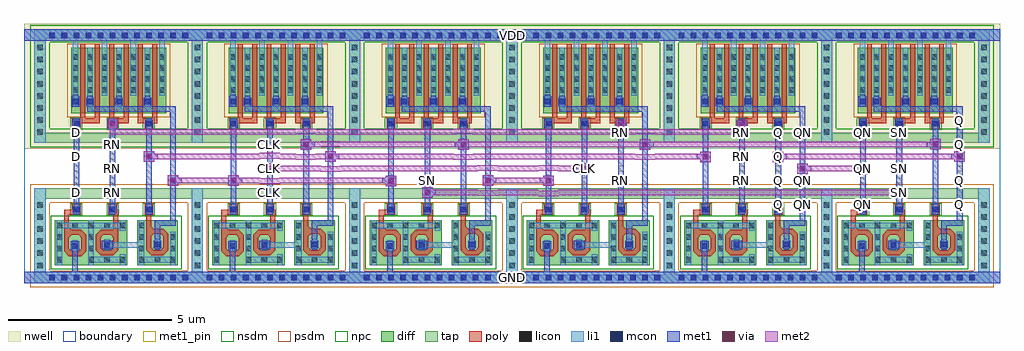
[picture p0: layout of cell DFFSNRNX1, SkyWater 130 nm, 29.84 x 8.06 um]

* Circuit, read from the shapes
.subckt DFFSNRNX1 CLK D GND Q QN RN SN VDD
XM1 n1 D GND GND sky130_fd_pr__nfet_01v8 w=2.6 l=0.147
XM2 n1 RN n2 GND sky130_fd_pr__nfet_01v8 w=2.52 l=0.1481
XM3 n2 n3 n4 GND sky130_fd_pr__nfet_01v8 w=2.56 l=0.1466
XM4 n5 n4 GND GND sky130_fd_pr__nfet_01v8 w=2.6 l=0.148
XM5 n5 CLK n6 GND sky130_fd_pr__nfet_01v8 w=2.52 l=0.1476
XM6 n6 n7 n3 GND sky130_fd_pr__nfet_01v8 w=2.56 l=0.1466
XM7 n8 n4 GND GND sky130_fd_pr__nfet_01v8 w=2.6 l=0.1474
XM8 n8 SN n9 GND sky130_fd_pr__nfet_01v8 w=2.52 l=0.1481
XM9 n9 n7 n10 GND sky130_fd_pr__nfet_01v8 w=2.56 l=0.1466
XM10 n11 n10 GND GND sky130_fd_pr__nfet_01v8 w=2.6 l=0.1474
XM11 n11 CLK n12 GND sky130_fd_pr__nfet_01v8 w=2.52 l=0.148
XM12 n12 RN n7 GND sky130_fd_pr__nfet_01v8 w=2.56 l=0.1466
XM13 n13 n3 GND GND sky130_fd_pr__nfet_01v8 w=2.6 l=0.1474
XM14 n13 RN n14 GND sky130_fd_pr__nfet_01v8 w=2.52 l=0.1481
XM15 n14 Q QN GND sky130_fd_pr__nfet_01v8 w=2.56 l=0.1467
XM16 n15 QN GND GND sky130_fd_pr__nfet_01v8 w=2.6 l=0.1474
XM17 n15 SN n16 GND sky130_fd_pr__nfet_01v8 w=2.52 l=0.148
XM18 n16 n7 Q GND sky130_fd_pr__nfet_01v8 w=2.56 l=0.1464
XM19 n4 D VDD VDD sky130_fd_pr__pfet_01v8 w=2 l=0.15 m=2
XM20 n4 RN VDD VDD sky130_fd_pr__pfet_01v8 w=2 l=0.15 m=2
XM21 n4 n3 VDD VDD sky130_fd_pr__pfet_01v8 w=2 l=0.15 m=2
XM22 n3 n4 VDD VDD sky130_fd_pr__pfet_01v8 w=2 l=0.15 m=2
XM23 n3 CLK VDD VDD sky130_fd_pr__pfet_01v8 w=2 l=0.15 m=2
XM24 n3 n7 VDD VDD sky130_fd_pr__pfet_01v8 w=2 l=0.15 m=2
XM25 n10 n4 VDD VDD sky130_fd_pr__pfet_01v8 w=2 l=0.15 m=2
XM26 n10 SN VDD VDD sky130_fd_pr__pfet_01v8 w=2 l=0.15 m=2
XM27 n10 n7 VDD VDD sky130_fd_pr__pfet_01v8 w=2 l=0.15 m=2
XM28 n7 n10 VDD VDD sky130_fd_pr__pfet_01v8 w=2 l=0.15 m=2
XM29 n7 CLK VDD VDD sky130_fd_pr__pfet_01v8 w=2 l=0.15 m=2
XM30 n7 RN VDD VDD sky130_fd_pr__pfet_01v8 w=2 l=0.15 m=2
XM31 QN n3 VDD VDD sky130_fd_pr__pfet_01v8 w=2 l=0.15 m=2
XM32 QN RN VDD VDD sky130_fd_pr__pfet_01v8 w=2 l=0.15 m=2
XM33 QN Q VDD VDD sky130_fd_pr__pfet_01v8 w=2 l=0.15 m=2
XM34 Q QN VDD VDD sky130_fd_pr__pfet_01v8 w=2 l=0.15 m=2
XM35 Q SN VDD VDD sky130_fd_pr__pfet_01v8 w=2 l=0.15 m=2
XM36 Q n7 VDD VDD sky130_fd_pr__pfet_01v8 w=2 l=0.15 m=2
.ends

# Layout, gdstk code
from math import pi, radians
import gdstk
lib = gdstk.Library(unit=1e-6, precision=1e-09)
def R(c, l, rs):  # rectangles x0, y0, x1, y1
    for r in rs: c.add(gdstk.rectangle(r[:2], r[2:], *l))
def A(c, l, x, y, w, h, nx, ny, dx, dy):  # array of equal rectangles
    R(c, l, [(x+i*dx, y+j*dy, x+i*dx+w, y+j*dy+h) for i in range(nx) for j in range(ny)])
def P(c, l, *ps):  # polygons
    for p in ps: c.add(gdstk.Polygon(p, *l))
nwell = (64, 20)
diff = (65, 20)
tap = (65, 44)
poly = (66, 20)
licon = (66, 44)
li1 = (67, 20)
mcon = (67, 44)
met1_pin = (68, 16)
met1 = (68, 20)
via = (68, 44)
met2 = (69, 20)
nsdm = (93, 44)
psdm = (94, 20)
npc = (95, 20)
boundary = (235, 4)

li1_m1_contact = lib.new_cell('li1_M1_contact')
R(li1_m1_contact, li1, [(-0.085,-0.165,0.085,0.165)])
R(li1_m1_contact, mcon, [(-0.085,-0.085,0.085,0.085)])
R(li1_m1_contact, met1, [(-0.115,-0.115,0.115,-0.085), (-0.265,-0.085,0.145,0.085), (-0.115,0.085,0.115,0.115)])

diff_ring_side = lib.new_cell('diff_ring_side')
R(diff_ring_side, nwell, [(-0.435,3.93,0.435,7.75)])
R(diff_ring_side, tap, [(-0.17,-0.17,0.17,2.72), (-0.17,4.11,0.17,7.57)])
A(diff_ring_side, licon, -0.085, 0.285, 0.17, 0.17, 1, 6, 0, 0.37)
A(diff_ring_side, licon, -0.085, 4.355, 0.17, 0.17, 1, 8, 0, 0.37)
R(diff_ring_side, li1, [(-0.17,-0.17,0.17,2.72), (-0.17,4.11,0.17,7.57)])
R(diff_ring_side, met1, [(-0.17,-0.17,0.17,0.17), (-0.17,7.23,0.17,7.57)])
R(diff_ring_side, nsdm, [(-0.295,3.985,0.295,7.695)])
R(diff_ring_side, psdm, [(-0.295,-0.295,0.295,2.845)])

nmos_bottom = lib.new_cell('nmos_bottom')
R(nmos_bottom, diff, [(0,0,1.24,1.38)])
R(nmos_bottom, poly, [(0.43,0.27,0.81,0.42), (0.28,0.42,0.43,0.925), (0.81,0.42,0.96,0.925), (0.43,0.925,0.96,1.075), (0.81,1.075,0.96,1.51)])
P(nmos_bottom, poly, [(0.73,1.075),(0.81,1.075),(0.81,1.155)],
  [(0.28,0.925),(0.43,0.925),(0.43,1.075)],
  [(0.43,0.845),(0.43,0.925),(0.51,0.925)],
  [(0.73,0.925),(0.81,0.925),(0.81,0.845)],
  [(0.43,0.5),(0.43,0.42),(0.51,0.42)],
  [(0.73,0.42),(0.81,0.42),(0.81,0.5)],
  [(0.28,0.42),(0.43,0.42),(0.43,0.27)],
  [(0.81,0.27),(0.81,0.42),(0.96,0.42)])
A(nmos_bottom, licon, 0.05, 1.13, 0.17, 0.17, 3, 1, 0.485, 0)
R(nmos_bottom, licon, [(0.05,0.08,0.22,0.25), (1.02,0.08,1.19,0.25), (0.05,0.43,0.22,0.6), (1.02,0.43,1.19,0.6), (0.535,0.505,0.705,0.675), (0.05,0.77,0.22,0.94), (1.02,0.77,1.19,0.94)])
R(nmos_bottom, li1, [(0.05,0,0.22,1.13), (1.02,0,1.19,1.13), (0.535,0.425,0.705,0.755), (0.05,1.13,1.19,1.3), (0.05,1.3,0.22,1.38), (1.02,1.3,1.19,1.38)])
R(nmos_bottom, nsdm, [(-0.125,-0.125,1.365,1.505)])

pmos2 = lib.new_cell('pmos2')
R(pmos2, nwell, [(0.26,-2.18,1.76,0.18)])
R(pmos2, diff, [(0.44,-2,1.58,0)])
R(pmos2, poly, [(0.72,-2.305,1.31,-2.155), (0.72,-2.155,0.87,0.13), (1.16,-2.155,1.31,0.13)])
A(pmos2, licon, 0.49, -1.38, 0.17, 0.17, 3, 4, 0.44, 0.34)
R(pmos2, li1, [(0.49,-1.465,0.66,0.21), (0.93,-1.465,1.1,0), (1.37,-1.465,1.54,0.21)])
R(pmos2, psdm, [(0.315,-2.125,1.705,0.125)])

poly_li1_contact = lib.new_cell('poly_li1_contact')
R(poly_li1_contact, poly, [(-0.16,-0.14,0.17,0.13)])
R(poly_li1_contact, licon, [(-0.08,-0.09,0.09,0.08)])
R(poly_li1_contact, li1, [(-0.16,-0.09,0.17,0.08)])
R(poly_li1_contact, npc, [(-0.18,-0.19,0.19,0.18)])

nmos_side_left = lib.new_cell('nmos_side_left')
R(nmos_side_left, diff, [(0,0,1.24,1.38)])
R(nmos_side_left, poly, [(0.435,0.305,0.81,0.455), (0.285,0.455,0.435,0.925), (0.81,0.455,0.96,0.925), (0.435,0.925,0.96,1.075), (0.81,1.075,0.96,1.51)])
P(nmos_side_left, poly, [(0.285,0.925),(0.435,0.925),(0.435,1.075)],
  [(0.435,0.845),(0.435,0.925),(0.515,0.925)],
  [(0.73,0.925),(0.81,0.925),(0.81,0.845)],
  [(0.435,0.535),(0.435,0.455),(0.515,0.455)],
  [(0.73,0.455),(0.81,0.455),(0.81,0.535)],
  [(0.285,0.455),(0.435,0.455),(0.435,0.305)],
  [(0.81,0.305),(0.81,0.455),(0.96,0.455)])
A(nmos_side_left, licon, 0.05, 0.08, 0.17, 0.17, 3, 2, 0.485, 1.05)
R(nmos_side_left, licon, [(0.05,0.43,0.22,0.6), (0.54,0.535,0.71,0.705), (0.05,0.77,0.22,0.94)])
R(nmos_side_left, li1, [(0.05,0,0.22,0.08), (1.02,0,1.19,0.08), (0.05,0.08,1.19,0.25), (0.05,0.25,0.22,1.13), (1.02,0.25,1.19,0.33), (0.54,0.455,0.71,0.785), (1.02,1.05,1.19,1.13), (0.05,1.13,1.19,1.3), (0.05,1.3,0.22,1.38), (1.02,1.3,1.19,1.38)])
R(nmos_side_left, nsdm, [(-0.125,-0.125,1.365,1.505)])

nmos_top_trim1 = lib.new_cell('nmos_top_trim1')
R(nmos_top_trim1, diff, [(0,0,1.24,1.38)])
R(nmos_top_trim1, poly, [(0.43,0.31,0.81,0.46), (0.28,0.46,0.43,0.965), (0.81,0.46,0.96,0.965), (0.43,0.965,0.96,1.115), (0.81,1.115,0.96,1.545)])
P(nmos_top_trim1, poly, [(0.73,1.115),(0.81,1.115),(0.81,1.195)],
  [(0.28,0.965),(0.43,0.965),(0.43,1.115)],
  [(0.43,0.885),(0.43,0.965),(0.51,0.965)],
  [(0.73,0.965),(0.81,0.965),(0.81,0.885)],
  [(0.43,0.54),(0.43,0.46),(0.51,0.46)],
  [(0.73,0.46),(0.81,0.46),(0.81,0.54)],
  [(0.28,0.46),(0.43,0.46),(0.43,0.31)],
  [(0.81,0.31),(0.81,0.46),(0.96,0.46)])
A(nmos_top_trim1, licon, 0.05, 0.08, 0.17, 0.17, 3, 1, 0.485, 0)
R(nmos_top_trim1, licon, [(0.05,0.43,0.22,0.6), (1.02,0.43,1.19,0.6), (0.535,0.55,0.705,0.72), (0.05,0.77,0.22,0.94), (1.02,0.77,1.19,0.94), (1.02,1.13,1.19,1.3)])
R(nmos_top_trim1, li1, [(0.05,0,0.22,0.08), (1.02,0,1.19,0.08), (0.05,0.08,1.19,0.25), (0.05,0.25,0.22,1.02), (1.02,0.25,1.19,1.38), (0.535,0.47,0.705,0.805)])
R(nmos_top_trim1, nsdm, [(-0.125,-0.125,1.365,1.505)])

nand3x1_pcell = lib.new_cell('nand3x1_pcell')
R(nand3x1_pcell, nwell, [(0.435,3.93,4.375,5.28), (0.435,5.28,1.1,5.295), (1.395,5.28,4.375,5.495), (0.435,5.295,1.025,5.465), (1.145,5.295,1.315,5.465), (0.435,5.465,1.1,5.495), (0.435,5.495,4.375,7.75)])
A(nand3x1_pcell, diff, 1.445, 5.295, 0.17, 0.17, 3, 1, 0.88, 0)
R(nand3x1_pcell, diff, [(1.005,5.295,1.175,5.465)])
R(nand3x1_pcell, tap, [(0.17,-0.17,4.64,0.085), (0.17,2.41,4.64,2.72), (0.17,4.11,4.64,4.42), (0.17,7.315,4.64,7.57)])
R(nand3x1_pcell, poly, [(0.735,1.885,0.885,1.915), (2.235,1.885,2.385,1.915), (0.735,1.915,0.975,2.065), (2.355,1.915,2.385,2.065)])
A(nand3x1_pcell, licon, 0.285, -0.085, 0.17, 0.17, 12, 2, 0.37, 7.4)
A(nand3x1_pcell, licon, 1.445, 5.295, 0.17, 0.17, 3, 1, 0.88, 0)
R(nand3x1_pcell, licon, [(1.005,5.295,1.175,5.465)])
A(nand3x1_pcell, li1, 1.025, 1.995, 0.17, 0.17, 3, 2, 1.11, 2.62)
R(nand3x1_pcell, li1, [(0.17,-0.17,4.65,0.17), (0.99,0.88,1.16,1.05), (1.965,0.91,3.015,1.08), (3.5,0.925,3.67,1.095), (1.005,5.215,1.175,5.6), (1.445,5.215,1.615,5.56), (2.325,5.215,2.495,5.585), (3.205,5.215,3.375,5.56), (0.07,7.23,4.715,7.57)])
A(nand3x1_pcell, mcon, 0.285, -0.085, 0.17, 0.17, 12, 2, 0.37, 7.4)
A(nand3x1_pcell, mcon, 1.025, 1.995, 0.17, 0.17, 3, 2, 1.11, 2.62)
A(nand3x1_pcell, mcon, 1.445, 5.295, 0.17, 0.17, 3, 1, 0.88, 0)
R(nand3x1_pcell, mcon, [(0.99,0.88,1.16,1.05), (1.965,0.91,2.135,1.08), (3.5,0.925,3.67,1.095), (1.005,5.295,1.175,5.465)])
A(nand3x1_pcell, met1, 1.025, 1.915, 0.17, 0.04, 3, 1, 1.11, 0)
A(nand3x1_pcell, met1, 1.445, 5.495, 0.17, 0.06, 3, 1, 0.88, 0)
R(nand3x1_pcell, met1, [(0.17,-0.17,4.64,0.17), (0.99,0.17,1.16,0.835), (0.945,0.835,1.205,1.11), (1.89,0.865,2.225,1.115), (3.5,0.865,3.67,0.895), (3.47,0.895,3.7,1.125), (3.5,1.125,3.67,1.58), (3.5,1.58,4.155,1.75), (3.985,1.75,4.155,5.07), (0.995,1.955,1.225,2.195), (2.105,1.955,2.34,2.195), (3.215,1.955,3.445,2.195), (1.025,2.195,1.195,4.575), (2.135,2.195,2.305,4.585), (3.245,2.195,3.415,4.57), (3.215,4.57,3.445,4.815), (0.99,4.575,1.23,4.835), (2.105,4.585,2.335,4.815), (2.135,4.815,2.305,4.845), (3.245,4.815,3.415,4.845), (1.025,4.835,1.195,4.845), (1.445,5.07,4.155,5.24), (0.965,5.215,1.205,5.535), (1.415,5.24,1.65,5.495), (2.29,5.24,2.53,5.495), (3.175,5.24,3.405,5.495), (1.005,5.535,1.175,5.58), (0.17,7.23,4.64,7.57)])
R(nand3x1_pcell, nsdm, [(2.79,0.25,2.84,1.88), (0.045,3.985,4.765,4.545), (0.045,7.19,4.765,7.695)])
R(nand3x1_pcell, psdm, [(0.045,-0.295,4.765,0.21), (0.045,2.285,4.765,2.845), (0.88,5.17,1.74,5.59), (2.2,5.17,2.62,5.59), (3.08,5.17,3.5,5.59)])
nand3x1_pcell.add(gdstk.Reference(diff_ring_side, (0,0)))
nand3x1_pcell.add(gdstk.Reference(nmos_bottom, (1.695,0.375), rotation=pi, x_reflection=True))
nand3x1_pcell.add(gdstk.Reference(pmos2, (0.515,7.02)))
nand3x1_pcell.add(gdstk.Reference(poly_li1_contact, (1.115,4.705), rotation=3*pi/2))
nand3x1_pcell.add(gdstk.Reference(poly_li1_contact, (1.105,2.075), rotation=pi/2))
nand3x1_pcell.add(gdstk.Reference(nmos_side_left, (1.425,0.375)))
nand3x1_pcell.add(gdstk.Reference(pmos2, (1.395,7.02)))
nand3x1_pcell.add(gdstk.Reference(pmos2, (2.275,7.02)))
nand3x1_pcell.add(gdstk.Reference(poly_li1_contact, (2.215,2.075), rotation=pi/2))
nand3x1_pcell.add(gdstk.Reference(poly_li1_contact, (2.215,4.695), rotation=pi/2))
nand3x1_pcell.add(gdstk.Reference(nmos_top_trim1, (4.205,0.375), rotation=pi, x_reflection=True))
nand3x1_pcell.add(gdstk.Reference(poly_li1_contact, (3.325,2.075), rotation=pi/2))
nand3x1_pcell.add(gdstk.Reference(poly_li1_contact, (3.335,4.705), rotation=3*pi/2))
nand3x1_pcell.add(gdstk.Reference(diff_ring_side, (4.81,0)))

dffsnrnx1 = lib.new_cell('DFFSNRNX1')
R(dffsnrnx1, nwell, [(0,4.11,29.84,4.405), (0,4.405,2.565,4.485), (2.605,4.405,29.84,4.425), (2.605,4.425,18.085,4.465), (18.135,4.425,29.84,4.44), (18.135,4.44,21.78,4.465), (21.8,4.44,29.84,4.465), (2.605,4.465,29.84,4.485), (0,4.485,29.84,7.94)])
R(dffsnrnx1, tap, [(0.32,0,29.52,0.01), (0.32,7.75,29.52,7.76)])
R(dffsnrnx1, li1, [(0,0,29.84,0.35), (0,7.41,29.84,7.76)])
A(dffsnrnx1, met1_pin, 28.525, 2.315, 0.17, 0.17, 1, 8, 0, 0.37)
A(dffsnrnx1, met1_pin, 1.515, 2.685, 0.17, 0.17, 1, 6, 0, 0.37)
A(dffsnrnx1, met1_pin, 2.625, 2.685, 0.17, 0.17, 3, 1, 4.81, 0)
A(dffsnrnx1, met1_pin, 26.675, 2.685, 0.17, 0.17, 1, 3, 0, 0.37)
A(dffsnrnx1, met1_pin, 2.625, 3.055, 0.17, 0.17, 1, 5, 0, 0.37)
A(dffsnrnx1, met1_pin, 21.865, 3.055, 0.17, 0.17, 1, 3, 0, 0.37)
A(dffsnrnx1, met1_pin, 22.975, 3.055, 0.17, 0.17, 1, 3, 0, 0.37)
R(dffsnrnx1, met1_pin, [(0,0,29.84,0.35), (22.975,2.315,23.145,2.485), (23.715,2.315,23.885,2.485), (25.565,2.315,25.735,2.485), (12.245,3.055,12.415,3.225), (17.055,3.055,17.225,3.225), (18.165,3.055,18.335,3.225), (23.715,3.055,23.885,3.225), (25.565,3.055,25.735,3.225), (7.435,3.425,7.605,3.595), (17.055,3.425,17.225,3.595), (18.165,3.425,18.335,3.595), (23.715,3.425,23.885,3.595), (25.565,3.425,25.735,3.595), (7.435,4.165,7.605,4.335), (18.165,4.535,18.335,4.705), (21.865,4.535,22.035,4.705), (22.975,4.535,23.145,4.705), (23.715,4.535,23.885,4.705), (25.565,4.535,25.735,4.705), (26.675,4.535,26.845,4.705), (0,7.41,29.84,7.76)])
A(dffsnrnx1, met1, 28.525, 2.315, 0.17, 0.17, 1, 4, 0, 0.37)
A(dffsnrnx1, met1, 1.515, 2.685, 0.17, 0.17, 1, 6, 0, 0.37)
A(dffsnrnx1, met1, 2.625, 2.685, 0.17, 0.17, 1, 6, 0, 0.37)
A(dffsnrnx1, met1, 21.865, 3.055, 0.17, 0.17, 1, 3, 0, 0.37)
A(dffsnrnx1, met1, 28.525, 4.165, 0.17, 0.17, 1, 3, 0, 0.37)
R(dffsnrnx1, met1, [(0,0,29.84,0.35), (22.975,2.315,23.145,2.485), (23.715,2.315,23.885,2.485), (25.565,2.315,25.735,2.485), (26.595,2.61,26.915,2.93), (12.17,2.615,12.49,2.935), (7.435,2.685,7.605,2.855), (11.06,2.965,11.38,3.285), (15.87,2.975,16.19,3.295), (14.02,2.98,14.34,3.3), (6.25,2.985,6.57,3.305), (4.4,2.99,4.72,3.31), (12.245,3.055,12.415,3.225), (17.055,3.055,17.225,3.225), (18.165,3.055,18.335,3.225), (22.975,3.055,23.145,3.225), (23.715,3.055,23.885,3.225), (25.565,3.055,25.735,3.225), (26.675,3.055,26.845,3.225), (16.975,3.335,17.295,3.655), (23.64,3.335,23.96,3.655), (25.485,3.335,25.805,3.655), (7.355,3.355,7.675,3.675), (18.165,3.425,18.335,3.595), (22.975,3.425,23.145,3.595), (26.675,3.425,26.845,3.595), (20.675,3.705,20.995,4.025), (22.89,3.705,23.21,4.025), (28.445,3.715,28.765,4.035), (3.66,3.72,3.98,4.04), (9.21,3.72,9.53,4.04), (8.465,4.09,8.785,4.41), (13.275,4.09,13.595,4.41), (18.83,4.09,19.15,4.41), (27.71,4.105,28.03,4.425), (7.435,4.165,7.605,4.335), (18.165,4.535,18.335,4.675), (21.865,4.535,22.035,4.68), (22.975,4.535,23.145,4.705), (23.715,4.535,23.885,4.705), (25.565,4.535,25.735,4.705), (26.675,4.535,26.845,4.705), (18.09,4.675,18.41,4.995), (21.785,4.68,22.105,5), (2.55,4.715,2.87,5.035), (0,7.41,29.84,7.76)])
R(dffsnrnx1, via, [(26.68,2.695,26.83,2.845), (12.255,2.7,12.405,2.85), (11.145,3.05,11.295,3.2), (15.955,3.06,16.105,3.21), (14.105,3.065,14.255,3.215), (6.335,3.07,6.485,3.22), (4.485,3.075,4.635,3.225), (17.06,3.42,17.21,3.57), (23.725,3.42,23.875,3.57), (25.57,3.42,25.72,3.57), (7.44,3.44,7.59,3.59), (20.76,3.79,20.91,3.94), (22.975,3.79,23.125,3.94), (28.53,3.8,28.68,3.95), (3.745,3.805,3.895,3.955), (9.295,3.805,9.445,3.955), (8.55,4.175,8.7,4.325), (13.36,4.175,13.51,4.325), (18.915,4.175,19.065,4.325), (27.795,4.19,27.945,4.34), (18.175,4.76,18.325,4.91), (21.87,4.765,22.02,4.915), (2.635,4.8,2.785,4.95)])
R(dffsnrnx1, met2, [(26.595,2.61,26.915,2.685), (12.17,2.615,12.49,2.685), (15.73,2.665,16.33,2.685), (13.88,2.67,14.48,2.685), (12.17,2.685,26.915,2.835), (12.17,2.835,15.73,2.84), (16.33,2.835,26.915,2.855), (12.17,2.84,13.88,2.855), (14.48,2.84,15.73,2.855), (12.17,2.855,12.49,2.935), (26.595,2.855,26.915,2.93), (11.06,2.965,11.38,3.06), (15.87,2.975,16.19,3.055), (14.02,2.98,14.34,3.055), (6.25,2.985,6.57,3.06), (4.4,2.99,4.72,3.06), (7.215,3.045,7.815,3.06), (14.02,3.055,16.19,3.225), (4.4,3.06,11.38,3.215), (4.4,3.215,7.215,3.23), (7.815,3.215,11.38,3.23), (14.02,3.225,14.34,3.3), (15.87,3.225,16.19,3.295), (4.4,3.23,4.72,3.31), (6.25,3.23,6.57,3.305), (11.06,3.23,11.38,3.285), (16.975,3.335,17.295,3.425), (23.64,3.335,23.96,3.425), (25.485,3.335,25.805,3.425), (7.355,3.355,7.675,3.425), (9.07,3.41,9.67,3.425), (7.355,3.425,13.88,3.44), (14.48,3.425,15.73,3.44), (16.33,3.425,17.295,3.44), (23.64,3.425,25.805,3.595), (7.355,3.44,17.295,3.58), (7.355,3.58,9.07,3.595), (9.67,3.58,17.295,3.595), (7.355,3.595,7.675,3.675), (13.88,3.595,14.48,3.61), (15.73,3.595,16.33,3.61), (16.975,3.595,17.295,3.655), (23.64,3.595,23.96,3.655), (25.485,3.595,25.805,3.655), (20.675,3.705,20.995,3.795), (22.89,3.705,23.21,3.795), (28.445,3.715,28.765,3.795), (3.66,3.72,3.98,3.795), (9.21,3.72,9.53,3.795), (8.325,3.78,8.925,3.795), (13.135,3.78,13.735,3.795), (18.69,3.78,19.29,3.795), (3.66,3.795,7.215,3.815), (7.815,3.795,20.995,3.815), (22.89,3.795,28.765,3.965), (3.66,3.815,20.995,3.95), (3.66,3.95,8.325,3.965), (8.925,3.95,13.135,3.965), (13.735,3.95,18.69,3.965), (19.29,3.95,20.995,3.965), (3.66,3.965,3.98,4.04), (7.215,3.965,7.815,3.985), (9.21,3.965,9.53,4.04), (20.675,3.965,20.995,4.025), (22.89,3.965,23.21,4.025), (28.445,3.965,28.765,4.035), (8.465,4.09,8.785,4.165), (13.275,4.09,13.595,4.165), (18.83,4.09,19.15,4.165), (27.71,4.105,28.03,4.165), (8.465,4.165,9.07,4.18), (9.67,4.165,28.03,4.18), (8.465,4.18,28.03,4.335), (8.465,4.335,8.785,4.41), (9.07,4.335,9.67,4.35), (13.275,4.335,13.595,4.41), (18.83,4.335,19.15,4.41), (27.71,4.335,28.03,4.425), (2.625,4.535,8.325,4.55), (8.925,4.535,13.135,4.55), (13.735,4.535,18.69,4.55), (19.29,4.535,22.04,4.55), (2.625,4.55,22.04,4.68), (2.625,4.68,22.105,4.705), (2.625,4.705,2.87,4.715), (8.325,4.705,8.925,4.72), (13.135,4.705,13.735,4.72), (18.09,4.705,18.41,4.995), (18.69,4.705,19.29,4.715), (21.785,4.705,22.105,5), (2.55,4.715,2.87,5.035)])
R(dffsnrnx1, nsdm, [(0.195,7.625,29.645,7.885)])
R(dffsnrnx1, psdm, [(0.195,-0.125,29.645,0.135)])
R(dffsnrnx1, boundary, [(0,0,29.84,7.76)])
dffsnrnx1.add(gdstk.Reference(li1_m1_contact, (3.82,3.88), rotation=pi))
dffsnrnx1.add(gdstk.Reference(li1_m1_contact, (4.56,3.145), rotation=pi))
dffsnrnx1.add(gdstk.Reference(nand3x1_pcell, (0.49,0.18)))
dffsnrnx1.add(gdstk.Reference(nand3x1_pcell, (5.3,0.18)))
dffsnrnx1.add(gdstk.Reference(li1_m1_contact, (8.625,4.25), rotation=pi))
dffsnrnx1.add(gdstk.Reference(li1_m1_contact, (6.41,3.145), rotation=pi))
dffsnrnx1.add(gdstk.Reference(li1_m1_contact, (7.52,3.51), rotation=pi))
dffsnrnx1.add(gdstk.Reference(li1_m1_contact, (9.37,3.88), rotation=pi))
dffsnrnx1.add(gdstk.Reference(li1_m1_contact, (11.22,3.145)))
dffsnrnx1.add(gdstk.Reference(nand3x1_pcell, (10.11,0.18)))
dffsnrnx1.add(gdstk.Reference(li1_m1_contact, (13.44,4.25)))
dffsnrnx1.add(gdstk.Reference(li1_m1_contact, (12.33,2.77), rotation=pi))
dffsnrnx1.add(gdstk.Reference(li1_m1_contact, (14.18,3.14), rotation=pi))
dffsnrnx1.add(gdstk.Reference(li1_m1_contact, (17.14,3.51)))
dffsnrnx1.add(gdstk.Reference(li1_m1_contact, (16.03,3.14)))
dffsnrnx1.add(gdstk.Reference(nand3x1_pcell, (14.92,0.18)))
dffsnrnx1.add(gdstk.Reference(li1_m1_contact, (18.99,4.25), rotation=pi))
dffsnrnx1.add(gdstk.Reference(li1_m1_contact, (20.84,3.88)))
dffsnrnx1.add(gdstk.Reference(nand3x1_pcell, (19.73,0.18)))
dffsnrnx1.add(gdstk.Reference(li1_m1_contact, (23.06,3.88), rotation=pi))
dffsnrnx1.add(gdstk.Reference(li1_m1_contact, (23.8,3.51), rotation=pi))
dffsnrnx1.add(gdstk.Reference(li1_m1_contact, (27.87,4.25)))
dffsnrnx1.add(gdstk.Reference(li1_m1_contact, (25.65,3.51)))
dffsnrnx1.add(gdstk.Reference(li1_m1_contact, (26.76,2.77)))
dffsnrnx1.add(gdstk.Reference(li1_m1_contact, (28.61,3.88)))
dffsnrnx1.add(gdstk.Reference(nand3x1_pcell, (24.54,0.18)))
dffsnrnx1.add(gdstk.Label('Q', (23.06,4.62), layer=68, texttype=5))
dffsnrnx1.add(gdstk.Label('Q', (23.06,3.88), layer=68, texttype=5))
dffsnrnx1.add(gdstk.Label('Q', (23.06,3.51), layer=68, texttype=5))
dffsnrnx1.add(gdstk.Label('Q', (23.06,3.14), layer=68, texttype=5))
dffsnrnx1.add(gdstk.Label('Q', (23.06,2.4), layer=68, texttype=5))
dffsnrnx1.add(gdstk.Label('Q', (28.61,2.4), layer=68, texttype=5))
dffsnrnx1.add(gdstk.Label('Q', (28.61,2.77), layer=68, texttype=5))
dffsnrnx1.add(gdstk.Label('Q', (28.61,3.14), layer=68, texttype=5))
dffsnrnx1.add(gdstk.Label('Q', (28.61,3.51), layer=68, texttype=5))
dffsnrnx1.add(gdstk.Label('Q', (28.61,4.99), layer=68, texttype=5))
dffsnrnx1.add(gdstk.Label('Q', (28.61,4.62), layer=68, texttype=5))
dffsnrnx1.add(gdstk.Label('Q', (28.61,4.25), layer=68, texttype=5))
dffsnrnx1.add(gdstk.Label('Q', (28.61,3.88), layer=68, texttype=5))
dffsnrnx1.add(gdstk.Label('QN', (25.65,4.62), layer=68, texttype=5))
dffsnrnx1.add(gdstk.Label('QN', (25.65,3.51), layer=68, texttype=5))
dffsnrnx1.add(gdstk.Label('QN', (25.65,3.14), layer=68, texttype=5))
dffsnrnx1.add(gdstk.Label('QN', (25.65,2.4), layer=68, texttype=5))
dffsnrnx1.add(gdstk.Label('QN', (23.8,2.4), layer=68, texttype=5))
dffsnrnx1.add(gdstk.Label('QN', (23.8,3.14), layer=68, texttype=5))
dffsnrnx1.add(gdstk.Label('QN', (23.8,4.62), layer=68, texttype=5))
dffsnrnx1.add(gdstk.Label('QN', (23.8,3.51), layer=68, texttype=5))
dffsnrnx1.add(gdstk.Label('D', (1.6,4.62), layer=68, texttype=5))
dffsnrnx1.add(gdstk.Label('D', (1.6,4.25), layer=68, texttype=5))
dffsnrnx1.add(gdstk.Label('D', (1.6,3.88), layer=68, texttype=5))
dffsnrnx1.add(gdstk.Label('D', (1.6,3.51), layer=68, texttype=5))
dffsnrnx1.add(gdstk.Label('D', (1.6,2.77), layer=68, texttype=5))
dffsnrnx1.add(gdstk.Label('D', (1.6,3.14), layer=68, texttype=5))
dffsnrnx1.add(gdstk.Label('CLK', (17.14,3.51), layer=68, texttype=5))
dffsnrnx1.add(gdstk.Label('CLK', (17.14,3.14), layer=68, texttype=5))
dffsnrnx1.add(gdstk.Label('CLK', (7.52,2.77), layer=68, texttype=5))
dffsnrnx1.add(gdstk.Label('CLK', (7.52,4.25), layer=68, texttype=5))
dffsnrnx1.add(gdstk.Label('CLK', (7.52,3.51), layer=68, texttype=5))
dffsnrnx1.add(gdstk.Label('SN', (26.76,2.77), layer=68, texttype=5))
dffsnrnx1.add(gdstk.Label('SN', (26.76,4.62), layer=68, texttype=5))
dffsnrnx1.add(gdstk.Label('SN', (26.76,3.51), layer=68, texttype=5))
dffsnrnx1.add(gdstk.Label('SN', (26.76,3.14), layer=68, texttype=5))
dffsnrnx1.add(gdstk.Label('SN', (12.33,3.14), layer=68, texttype=5))
dffsnrnx1.add(gdstk.Label('SN', (12.33,2.77), layer=68, texttype=5))
dffsnrnx1.add(gdstk.Label('RN', (21.95,3.14), layer=68, texttype=5))
dffsnrnx1.add(gdstk.Label('RN', (21.95,3.51), layer=68, texttype=5))
dffsnrnx1.add(gdstk.Label('RN', (21.95,3.88), layer=68, texttype=5))
dffsnrnx1.add(gdstk.Label('RN', (21.95,4.62), layer=68, texttype=5))
dffsnrnx1.add(gdstk.Label('RN', (18.25,3.14), layer=68, texttype=5))
dffsnrnx1.add(gdstk.Label('RN', (18.25,3.51), layer=68, texttype=5))
dffsnrnx1.add(gdstk.Label('RN', (18.25,4.62), layer=68, texttype=5))
dffsnrnx1.add(gdstk.Label('RN', (2.71,2.77), layer=68, texttype=5))
dffsnrnx1.add(gdstk.Label('RN', (2.71,3.14), layer=68, texttype=5))
dffsnrnx1.add(gdstk.Label('RN', (2.71,3.51), layer=68, texttype=5))
dffsnrnx1.add(gdstk.Label('RN', (2.71,3.88), layer=68, texttype=5))
dffsnrnx1.add(gdstk.Label('RN', (2.71,4.25), layer=68, texttype=5))
dffsnrnx1.add(gdstk.Label('RN', (2.71,4.62), layer=68, texttype=5))
dffsnrnx1.add(gdstk.Label('VDD', (14.92,7.585), layer=68, texttype=5))
dffsnrnx1.add(gdstk.Label('GND', (14.92,0.175), layer=68, texttype=5))

lib.write_gds('DFFSNRNX1.gds')
